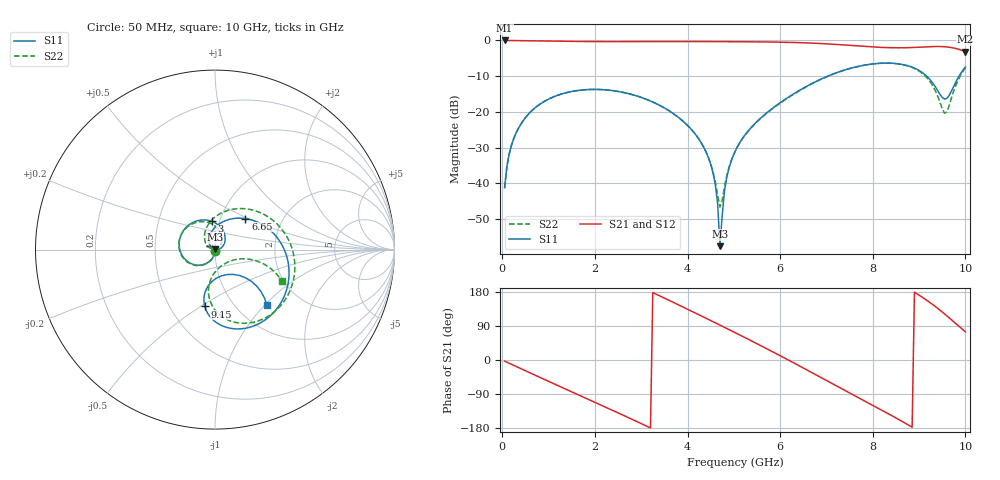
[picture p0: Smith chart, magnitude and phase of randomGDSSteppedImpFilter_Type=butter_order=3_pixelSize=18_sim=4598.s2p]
! freq	dB(S11)	phase(S11)	dB(S12)	phase(S12)
!  dB(S21)	phase(S21)	dB(S22)	phase(S22)
!S-par simulation data
#  GHz  S  DB  R 50
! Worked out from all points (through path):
!   200 points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, 50 MHz to 10 GHz, reference 50 ohm
!   highest |S21| = -0.01 dB at 50 MHz (marker M1); lowest = -3.1 dB at 10 GHz (marker M2)
!   group delay of S21, straight-line fit = 173 ps
!   lowest |S11| = -57.6 dB at 4.7 GHz (marker M3), VSWR 1.00, Z = 50.1 + j0.112 ohm
!   |S11| at or under -10 dB: start of sweep to 7.029 GHz; 9.162 GHz to 9.863 GHz (701 MHz wide, 7.37 % of centre)
!   |S22| runs from -46.6 to -6.4 dB; largest |S21 - S12| = 0
!   S11 on the Smith chart (normalised r, x): 50 MHz: 1.00, -0.02; 3 GHz: 0.92, +0.30; 6.65 GHz: 1.31, +0.48; 9.15 GHz: 0.74, -0.52; 10 GHz: 1.37, -1.03
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0.05  -41.28 -92.4  -0.01 -2.9  -0.01 -2.9  -41.28 -92.3
0.2  -29.29 -101.3  -0.02 -11.4  -0.02 -11.4  -29.29 -100.9
0.5  -21.64 -119.2  -0.07 -28.4  -0.07 -28.4  -21.64 -118.3
1.15  -15.58 -156.5  -0.20 -64.7  -0.20 -64.7  -15.58 -154.3
1.75  -13.85 169.5  -0.30 -97.8  -0.30 -97.8  -13.85 173.2
2.35  -14.00 135.2  -0.33 -131.1  -0.33 -131.1  -14.01 141.0
3  -15.96 96.9  -0.32 -167.8  -0.32 -167.8  -15.97 106.1
3.4  -18.19 72.6  -0.30 169.2  -0.30 169.2  -18.21 84.7
4.4  -31.26 9.5  -0.31 110.2  -0.31 110.2  -31.23 36.9
4.6  -40.39 -1.7  -0.32 98.2  -0.32 98.2  -39.64 41.9
4.65  -45.70 -2.3  -0.32 95.2  -0.32 95.2  -43.37 55.7
4.7  -57.63 58.2  -0.33 92.1  -0.33 92.1  -46.65 91.9
4.8  -41.98 158.5  -0.33 86.1  -0.33 86.1  -40.85 155.3
5.05  -30.46 144.8  -0.35 70.8  -0.35 70.8  -30.48 162.1
5.9  -18.37 91.4  -0.46 17.7  -0.46 17.7  -18.50 116.6
6.65  -12.31 45.5  -0.73 -30.9  -0.73 -30.9  -12.39 68.2
6.7  -11.98 42.4  -0.76 -34.2  -0.76 -34.2  -12.05 64.9
7.5  -7.87 -6.4  -1.38 -87.1  -1.38 -87.1  -7.88 11.4
8.35  -6.36 -56.9  -2.03 -142.7  -2.03 -142.7  -6.37 -43.4
9.15  -9.84 -100.2  -1.80 159.0  -1.80 159.0  -10.19 -93.3
9.55  -16.44 -76.2  -1.76 121.6  -1.76 121.6  -20.38 -65.2
10  -7.46 -46.9  -3.12 74.4  -3.12 74.4  -7.69 -25.1
